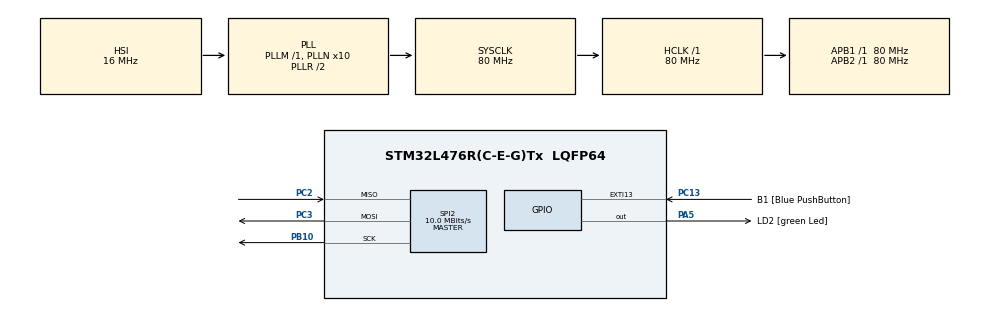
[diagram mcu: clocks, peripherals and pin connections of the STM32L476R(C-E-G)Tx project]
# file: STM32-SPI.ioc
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Dma.Request0=SPI2_RX
Dma.Request1=SPI2_TX
Dma.SPI2_RX.0.Direction=DMA_PERIPH_TO_MEMORY
Dma.SPI2_RX.0.Instance=DMA1_Channel4
Dma.SPI2_RX.0.MemDataAlignment=DMA_MDATAALIGN_BYTE
Dma.SPI2_RX.0.MemInc=DMA_MINC_ENABLE
Dma.SPI2_RX.0.Mode=DMA_NORMAL
Dma.SPI2_RX.0.PeriphDataAlignment=DMA_PDATAALIGN_BYTE
Dma.SPI2_RX.0.PeriphInc=DMA_PINC_DISABLE
Dma.SPI2_RX.0.Priority=DMA_PRIORITY_LOW
Dma.SPI2_TX.1.Direction=DMA_MEMORY_TO_PERIPH
Dma.SPI2_TX.1.Instance=DMA1_Channel5
Dma.SPI2_TX.1.MemDataAlignment=DMA_MDATAALIGN_BYTE
Dma.SPI2_TX.1.MemInc=DMA_MINC_ENABLE
Dma.SPI2_TX.1.Mode=DMA_NORMAL
Dma.SPI2_TX.1.PeriphDataAlignment=DMA_PDATAALIGN_BYTE
Dma.SPI2_TX.1.PeriphInc=DMA_PINC_DISABLE
Dma.SPI2_TX.1.Priority=DMA_PRIORITY_LOW
Mcu.Family=STM32L4
Mcu.Name=STM32L476R(C-E-G)Tx
Mcu.Package=LQFP64
NVIC.DMA1_Channel4_IRQn=true\:0\:0\:false\:false\:true
NVIC.DMA1_Channel5_IRQn=true\:0\:0\:false\:false\:true
NVIC.PriorityGroup=NVIC_PRIORITYGROUP_4
PA13.GPIO_Label=TMS
PA13.Signal=SYS_JTMS-SWDIO
PA14.GPIO_Label=TCK
PA14.Signal=SYS_JTCK-SWCLK
PA2.GPIO_Label=USART_TX
PA2.GPIO_Mode=GPIO_MODE_AF_PP
PA2.GPIO_PuPd=GPIO_NOPULL
PA2.GPIO_Speed=GPIO_SPEED_FREQ_VERY_HIGH
PA2.Signal=USART2_TX
PA3.GPIO_Label=USART_RX
PA3.GPIO_Mode=GPIO_MODE_AF_PP
PA3.GPIO_PuPd=GPIO_NOPULL
PA3.GPIO_Speed=GPIO_SPEED_FREQ_VERY_HIGH
PA3.Signal=USART2_RX
PA5.GPIO_Label=LD2 [green Led]
PA5.GPIO_ModeDefaultOutputPP=GPIO_MODE_OUTPUT_PP
PA5.GPIO_PuPd=GPIO_NOPULL
PA5.GPIO_Speed=GPIO_SPEED_FREQ_LOW
PA5.Signal=GPIO_Output
PB10.Mode=Full_Duplex_Master
PB10.Signal=SPI2_SCK
PB3.GPIO_Label=SWO
PB3.Signal=SYS_JTDO-SWO
PC13.GPIO_Label=B1 [Blue PushButton]
PC13.GPIO_ModeDefaultEXTI=GPIO_MODE_IT_FALLING
PC13.GPIO_PuPd=GPIO_NOPULL
PC13.Signal=GPXTI13
PC14/OSC32_IN.Signal=RCC_OSC32_IN
PC15/OSC32_OUT.Signal=RCC_OSC32_OUT
PC2.Mode=Full_Duplex_Master
PC2.Signal=SPI2_MISO
PC3.Mode=Full_Duplex_Master
PC3.Signal=SPI2_MOSI
PH0/OSC_IN.Signal=RCC_OSC_IN
PH1/OSC_OUT.Signal=RCC_OSC_OUT
ProjectManager.HeapSize=0x200
ProjectManager.StackSize=0x400
ProjectManager.TargetToolchain=SW4STM32
RCC.ADCFreq_Value=64000000
RCC.AHBFreq_Value=80000000
RCC.APB1Freq_Value=80000000
RCC.APB1TimFreq_Value=80000000
RCC.APB2Freq_Value=80000000
RCC.APB2TimFreq_Value=80000000
RCC.CortexFreq_Value=80000000
RCC.HCLKFreq_Value=80000000
RCC.HSE_VALUE=8000000
RCC.HSI_VALUE=16000000
RCC.LSE_VALUE=32768
RCC.MSI_VALUE=4000000
RCC.PLLN=10
RCC.PLLSourceVirtual=RCC_PLLSOURCE_HSI
RCC.PREFETCH_ENABLE=1
RCC.SYSCLKFreq_VALUE=80000000
RCC.SYSCLKSource=RCC_SYSCLKSOURCE_PLLCLK
RCC.USBFreq_Value=64000000
RCC.VCOOutputFreq_Value=160000000
SPI2.BaudRatePrescaler=SPI_BAUDRATEPRESCALER_8
SPI2.CLKPolarity=SPI_POLARITY_LOW
SPI2.CRCCalculation=SPI_CRCCALCULATION_ENABLE
SPI2.CRCLength=SPI_CRC_LENGTH_DATASIZE
SPI2.CRCPolynomial=X0+X1+X2+X4+X5+X7
SPI2.CalculateBaudRate=10.0 MBits/s
SPI2.DataSize=SPI_DATASIZE_16BIT
SPI2.Mode=SPI_MODE_MASTER
board=NUCLEO-L476RG

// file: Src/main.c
/**
  ******************************************************************************
  * File Name          : main.c
  * Description        : Main program body
  ******************************************************************************
  *
  * COPYRIGHT(c) 2017 STMicroelectronics
  *
  * Redistribution and use in source and binary forms, with or without modification,
  * are permitted provided that the following conditions are met:
  *   1. Redistributions of source code must retain the above copyright notice,
  *      this list of conditions and the following disclaimer.
  *   2. Redistributions in binary form must reproduce the above copyright notice,
  *      this list of conditions and the following disclaimer in the documentation
  *      and/or other materials provided with the distribution.
  *   3. Neither the name of STMicroelectronics nor the names of its contributors
  *      may be used to endorse or promote products derived from this software
  *      without specific prior written permission.
  *
  * THIS SOFTWARE IS PROVIDED BY THE COPYRIGHT HOLDERS AND CONTRIBUTORS "AS IS"
  * AND ANY EXPRESS OR IMPLIED WARRANTIES, INCLUDING, BUT NOT LIMITED TO, THE
  * IMPLIED WARRANTIES OF MERCHANTABILITY AND FITNESS FOR A PARTICULAR PURPOSE ARE
  * DISCLAIMED. IN NO EVENT SHALL THE COPYRIGHT HOLDER OR CONTRIBUTORS BE LIABLE
  * FOR ANY DIRECT, INDIRECT, INCIDENTAL, SPECIAL, EXEMPLARY, OR CONSEQUENTIAL
  * DAMAGES (INCLUDING, BUT NOT LIMITED TO, PROCUREMENT OF SUBSTITUTE GOODS OR
  * SERVICES; LOSS OF USE, DATA, OR PROFITS; OR BUSINESS INTERRUPTION) HOWEVER
  * CAUSED AND ON ANY THEORY OF LIABILITY, WHETHER IN CONTRACT, STRICT LIABILITY,
  * OR TORT (INCLUDING NEGLIGENCE OR OTHERWISE) ARISING IN ANY WAY OUT OF THE USE
  * OF THIS SOFTWARE, EVEN IF ADVISED OF THE POSSIBILITY OF SUCH DAMAGE.
  *
  ******************************************************************************
  */
#include "main.h"
#include "stm32l4xx_hal.h"
#include "dma.h"
#include "spi.h"
#include "gpio.h"
#include "crc.h"

/* USER CODE BEGIN Includes */
#include <stdbool.h>
/* USER CODE END Includes */

static __IO uint32_t TimingDelay;
#define NSS_DO_pin		GPIO_PIN_6
#define NSS_DO_port		GPIOC
#define NSS_DI_pin		GPIO_PIN_12
#define NSS_DI_port		GPIOB
/* USER CODE BEGIN PV */
/* Private variables ---------------------------------------------------------*/

/* USER CODE END PV */

void SystemClock_Config(void);
void Error_Handler(void);

/* USER CODE BEGIN PFP */
/* Private function prototypes -----------------------------------------------*/
void setNSS_DO(GPIO_PinState PinState);
void setNSS_DI(GPIO_PinState PinState);
static void Delay(__IO uint32_t nTime);
unsigned char crcSmallEncode16 (unsigned char byte1, unsigned char byte2);
unsigned char Loop_CRC (unsigned char crc, unsigned char byte);
bool crcSmallCheck16 (unsigned char byte1, unsigned char byte2, unsigned char byte3);
uint8_t checkCRC(uint8_t inputs);
/* USER CODE END PFP */

/* USER CODE BEGIN 0 */

//MAX14900E
uint8_t MAX1_IN_Settings 	  = 0x00;
uint8_t MAX1_IN_Configuration = 0x00;
uint8_t MAX1_IN_CRC           = 0x00;
uint8_t MAX2_IN_Settings 	  = 0x00;
uint8_t MAX2_IN_Configuration = 0x00;
uint8_t MAX2_IN_CRC           = 0x00;
uint8_t MAX1_OUT_FaultBits    = 0x00;
uint8_t MAX1_OUT_StatusBits   = 0x00;
uint8_t MAX1_OUT_CRC          = 0x00;
uint8_t MAX2_OUT_FaultBits    = 0x00;
uint8_t MAX2_OUT_StatusBits   = 0x00;
uint8_t MAX2_OUT_CRC          = 0x00;
bool    MAX1_CRC_OK;
bool    MAX2_CRC_OK;

//MAX31913
uint8_t MAX1_INPUTS       = 0x00;
uint8_t MAX1_ERRORS       = 0x00;
uint8_t MAX1_CRC	      = 0x00;
uint8_t MAX1_OVERVOLTAGE  = 0x00;
uint8_t MAX1_EXPECTED_CRC = 0x00;
bool    MAX1_INPUT_CRC_OK;
/* USER CODE END 0 */

int main(void)
{

  /* MCU Configuration----------------------------------------------------------*/

  /* Reset of all peripherals, Initializes the Flash interface and the Systick. */
  HAL_Init();

  /* Configure the system clock */
  SystemClock_Config();

  /* Initialize all configured peripherals */
  MX_GPIO_Init();
  MX_DMA_Init();
  MX_SPI2_Init();
  MX_CRC_Init();

  /* USER CODE BEGIN 2 */
	if (SysTick_Config(SystemCoreClock / 1000))
	{
		/* Capture error */
		while (1);
	}

  /* USER CODE END 2 */

  /* Infinite loop */
  /* USER CODE BEGIN WHILE */

	// The NSS pin starts HIGH!
	setNSS_DO(GPIO_PIN_SET);
	setNSS_DI(GPIO_PIN_SET);

	while (1)
	{
		// INPUT PART
		// Read MAX31913 Inputs!
		setNSS_DI(GPIO_PIN_RESET);
		HAL_SPI_Receive(&hspi2, &MAX1_INPUTS, 1, 10);
		HAL_SPI_Receive(&hspi2, &MAX1_ERRORS, 1, 10);
		setNSS_DI(GPIO_PIN_SET);

		MAX1_CRC 		 	= (MAX1_ERRORS & 0b11111000) >> 3;
		MAX1_OVERVOLTAGE 	= MAX1_ERRORS & 0b00000111;
		MAX1_EXPECTED_CRC	= checkCRC(MAX1_INPUTS);

		/* Insert ms delay */
		Delay(5000);

		//TODO: compare "MAX1_CRC" with "MAX1_EXPECTED_CRC"
		// if true, then update the state of the output pins

		// OUTPUT PART
		// Each MAX14900E is configured to receive and output 16bits
		// The input is divided in two 8bits registers (Settings and Configuration)
		// The Settings (DOx) bits configure each output pin as ON (1/HIGH) or OFF (0/LOW)
		// The Configuration (Cx) bits configure each output pin as HIGH-SIDE (0) or PUSH-PULL (1)
	    MAX1_IN_Settings      = 0b11110000;
	  	MAX2_IN_Settings      = 0b00001111;
	    MAX1_IN_Configuration = 0b00000000;
	  	MAX2_IN_Configuration = 0b00000000;

	  	// It's necessary to send more 8 bits with the proper CRC
	  	// for the MAX14900E to accept the Settings and Configurations!
	  	MAX1_IN_CRC = crcSmallEncode16 (MAX1_IN_Settings, MAX1_IN_Configuration);
	  	MAX2_IN_CRC = crcSmallEncode16 (MAX2_IN_Settings, MAX2_IN_Configuration);

		// Send/Receive 3x8 Bits to SPI
		setNSS_DO(GPIO_PIN_RESET);
		HAL_SPI_TransmitReceive(&hspi2, &MAX1_IN_Settings, &MAX1_OUT_FaultBits, 1, 10);
		HAL_SPI_TransmitReceive(&hspi2, &MAX1_IN_Configuration, &MAX1_OUT_StatusBits, 1, 10);
		HAL_SPI_TransmitReceive(&hspi2, &MAX1_IN_CRC, &MAX1_OUT_CRC, 1, 10);
		HAL_SPI_TransmitReceive(&hspi2, &MAX2_IN_Settings, &MAX2_OUT_FaultBits, 1, 10);
		HAL_SPI_TransmitReceive(&hspi2, &MAX2_IN_Configuration, &MAX2_OUT_StatusBits, 1, 10);
		HAL_SPI_TransmitReceive(&hspi2, &MAX2_IN_CRC, &MAX2_OUT_CRC, 1, 10);
		setNSS_DO(GPIO_PIN_SET);

		// Each MAX14900E send us 16bits with Monitoring Data
		// The first 8 bits (Fx) are the Output Fault bits
		// The second 8 bits (Sx) are the Output Status bits
		MAX1_CRC_OK = crcSmallCheck16(MAX1_OUT_FaultBits, MAX1_OUT_StatusBits, MAX1_OUT_CRC);
		MAX2_CRC_OK = crcSmallCheck16(MAX2_OUT_FaultBits, MAX2_OUT_StatusBits, MAX2_OUT_CRC);

	    //Insert ms delay
	    Delay(5000);

  /* USER CODE END WHILE */

  }

}

/** System Clock Configuration
*/
void SystemClock_Config(void)
{

  RCC_OscInitTypeDef RCC_OscInitStruct;
  RCC_ClkInitTypeDef RCC_ClkInitStruct;

    /**Initializes the CPU, AHB and APB busses clocks
    */
  RCC_OscInitStruct.OscillatorType = RCC_OSCILLATORTYPE_HSI;
  RCC_OscInitStruct.HSIState = RCC_HSI_ON;
  RCC_OscInitStruct.HSICalibrationValue = 16;
  RCC_OscInitStruct.PLL.PLLState = RCC_PLL_ON;
  RCC_OscInitStruct.PLL.PLLSource = RCC_PLLSOURCE_HSI;
  RCC_OscInitStruct.PLL.PLLM = 1;
  RCC_OscInitStruct.PLL.PLLN = 10;
  RCC_OscInitStruct.PLL.PLLP = RCC_PLLP_DIV7;
  RCC_OscInitStruct.PLL.PLLQ = RCC_PLLQ_DIV2;
  RCC_OscInitStruct.PLL.PLLR = RCC_PLLR_DIV2;
  if (HAL_RCC_OscConfig(&RCC_OscInitStruct) != HAL_OK)
  {
    Error_Handler();
  }

    /**Initializes the CPU, AHB and APB busses clocks
    */
  RCC_ClkInitStruct.ClockType = RCC_CLOCKTYPE_HCLK|RCC_CLOCKTYPE_SYSCLK
                              |RCC_CLOCKTYPE_PCLK1|RCC_CLOCKTYPE_PCLK2;
  RCC_ClkInitStruct.SYSCLKSource = RCC_SYSCLKSOURCE_PLLCLK;
  RCC_ClkInitStruct.AHBCLKDivider = RCC_SYSCLK_DIV1;
  RCC_ClkInitStruct.APB1CLKDivider = RCC_HCLK_DIV1;
  RCC_ClkInitStruct.APB2CLKDivider = RCC_HCLK_DIV1;

  if (HAL_RCC_ClockConfig(&RCC_ClkInitStruct, FLASH_LATENCY_4) != HAL_OK)
  {
    Error_Handler();
  }

    /**Configure the main internal regulator output voltage
    */
  if (HAL_PWREx_ControlVoltageScaling(PWR_REGULATOR_VOLTAGE_SCALE1) != HAL_OK)
  {
    Error_Handler();
  }

    /**Configure the Systick interrupt time
    */
  HAL_SYSTICK_Config(HAL_RCC_GetHCLKFreq()/1000);

    /**Configure the Systick
    */
  HAL_SYSTICK_CLKSourceConfig(SYSTICK_CLKSOURCE_HCLK);

  /* SysTick_IRQn interrupt configuration */
  HAL_NVIC_SetPriority(SysTick_IRQn, 0, 0);
}

/* USER CODE BEGIN 4 */

// Functions to change the Chip Select Pins!
void setNSS_DO(GPIO_PinState PinState)
{
	HAL_GPIO_WritePin(NSS_DO_port, NSS_DO_pin, PinState);
}

void setNSS_DI(GPIO_PinState PinState)
{
	HAL_GPIO_WritePin(NSS_DI_port, NSS_DI_pin, PinState);
}

// CRC stuff for the MAX31913
// Adapted from: https://www.ghsi.de/CRC/
//
uint8_t checkCRC(uint8_t inputs)
{
	char BitString[8];
	uint8_t Res = 0;
	uint8_t nCRC[5];
	int i;
	char DoInvert;

	for (i=0; i<8; i++)		BitString[7-i] = (inputs >> i) & 1 ? '1' : '0';

	for (i=0; i<5; ++i)		nCRC[i] = 0;                    // Init before calculation

	for (i=0; i<8; ++i)
	{
		DoInvert = ('1'==BitString[i]) ^ nCRC[4];         // XOR required?

		nCRC[4] = nCRC[3] ^ DoInvert;
		nCRC[3] = nCRC[2];
		nCRC[2] = nCRC[1] ^ DoInvert;
		nCRC[1] = nCRC[0];
		nCRC[0] = DoInvert;
	}

	for (i=4; i>=0; i--)	Res = (uint8_t) (Res << 1) | nCRC[i];

	return(Res);
}

// CRC stuff for the MAX14900E
// https://www.maximintegrated.com/en/app-notes/index.mvp/id/6002
//
unsigned char crcSmallEncode16 (unsigned char byte1, unsigned char byte2)
{
	unsigned char synd;

	synd = Loop_CRC (0x7f, byte1);
	synd = Loop_CRC (synd, byte2);
	return Loop_CRC (synd, 0x80) | 0x80;
}

unsigned char Loop_CRC (unsigned char crc, unsigned char byte)
{
	int i;

	for (i = 0; i < 8; i++)
	{
		crc <<= 1;
		if (crc & 0x80)
			crc ^= 0xB7; // 0x37 with MSBit on purpose
		if (byte & 0x80)
			crc ^=1;
		byte <<= 1;
	}

	return crc;
}

bool crcSmallCheck16 (unsigned char byte1, unsigned char byte2, unsigned char byte3)
{
	unsigned char synd;

	synd = Loop_CRC (0x7f, byte1);
	synd = Loop_CRC (synd, byte2);
	return Loop_CRC (synd, byte3) == 0;
}

/**
  * @brief  Inserts a delay time.
  * @param  nTime: specifies the delay time length, in milliseconds.
  * @retval None
  */
void Delay(__IO uint32_t nTime)
{
  TimingDelay = nTime;

  while(TimingDelay != 0);
}

/**
  * @brief  Decrements the TimingDelay variable.
  * @param  None
  * @retval None
  */
void TimingDelay_Decrement(void)
{
  if (TimingDelay != 0)
  {
    TimingDelay--;
  }
}

void Error_Handler(void)
{
  while(1)
  {
  }
}

/************************ (C) COPYRIGHT STMicroelectronics *****END OF FILE****/
